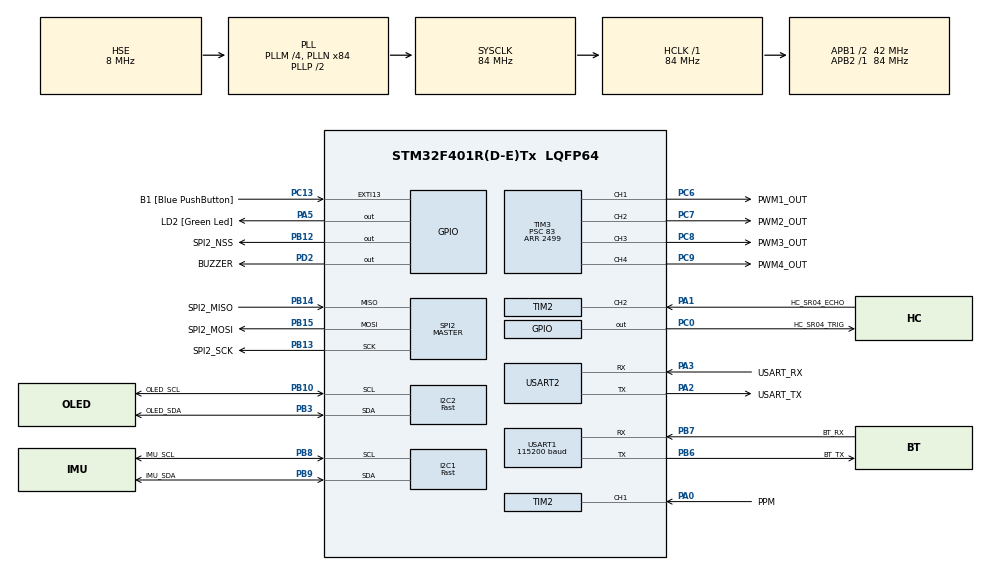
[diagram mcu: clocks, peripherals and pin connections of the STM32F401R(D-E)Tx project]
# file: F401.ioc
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Dma.Request0=USART1_RX
Dma.Request1=USART1_TX
Dma.USART1_RX.0.Direction=DMA_PERIPH_TO_MEMORY
Dma.USART1_RX.0.FIFOMode=DMA_FIFOMODE_DISABLE
Dma.USART1_RX.0.Instance=DMA2_Stream2
Dma.USART1_RX.0.MemDataAlignment=DMA_MDATAALIGN_BYTE
Dma.USART1_RX.0.MemInc=DMA_MINC_ENABLE
Dma.USART1_RX.0.Mode=DMA_CIRCULAR
Dma.USART1_RX.0.PeriphDataAlignment=DMA_PDATAALIGN_BYTE
Dma.USART1_RX.0.PeriphInc=DMA_PINC_DISABLE
Dma.USART1_RX.0.Priority=DMA_PRIORITY_HIGH
Dma.USART1_TX.1.Direction=DMA_MEMORY_TO_PERIPH
Dma.USART1_TX.1.FIFOMode=DMA_FIFOMODE_DISABLE
Dma.USART1_TX.1.Instance=DMA2_Stream7
Dma.USART1_TX.1.MemDataAlignment=DMA_MDATAALIGN_BYTE
Dma.USART1_TX.1.MemInc=DMA_MINC_ENABLE
Dma.USART1_TX.1.Mode=DMA_NORMAL
Dma.USART1_TX.1.PeriphDataAlignment=DMA_PDATAALIGN_BYTE
Dma.USART1_TX.1.PeriphInc=DMA_PINC_DISABLE
Dma.USART1_TX.1.Priority=DMA_PRIORITY_MEDIUM
FREERTOS.INCLUDE_xTimerPendFunctionCall=1
FREERTOS.Tasks01=ControlTask,48,512,Control_Task,Default,NULL,Dynamic,NULL,NULL;AttitudeTask,40,768,Attitude_Task,Default,NULL,Dynamic,NULL,NULL;RcTask,34,320,Rc_Task,Default,NULL,Dynamic,NULL,NULL;CommTask,24,320,Comm_Task,Default,NULL,Dynamic,NULL,NULL;StatusTask,8,192,Status_Task,Default,NULL,Dynamic,NULL,NULL;DisplayTask,16,256,Display_Task,Default,NULL,Dynamic,NULL,NULL;SafetyTask,36,384,Safety_Task,Default,NULL,Dynamic,NULL,NULL;BusTask,28,512,Bus_Task,Default,NULL,Dynamic,NULL,NULL
FREERTOS.configCHECK_FOR_STACK_OVERFLOW=2
FREERTOS.configENABLE_FPU=1
FREERTOS.configTOTAL_HEAP_SIZE=32768
FREERTOS.configUSE_MALLOC_FAILED_HOOK=1
I2C1.DutyCycle=I2C_DUTYCYCLE_16_9
I2C1.I2C_Mode=I2C_Fast
I2C1.I2C_Speed_Mode=I2C_Fast
I2C2.I2C_Speed_Mode=I2C_Fast
IWDG.Prescaler=IWDG_PRESCALER_32
IWDG.Reload=1000
Mcu.Family=STM32F4
Mcu.Name=STM32F401R(D-E)Tx
Mcu.Package=LQFP64
NVIC.DMA2_Stream2_IRQn=true\:6\:0\:true\:false\:true\:true\:false\:true\:true
NVIC.DMA2_Stream7_IRQn=true\:7\:0\:true\:false\:true\:true\:false\:true\:true
NVIC.I2C1_ER_IRQn=true\:5\:0\:true\:false\:true\:true\:true\:true\:true
NVIC.I2C1_EV_IRQn=true\:5\:0\:true\:false\:true\:true\:true\:true\:true
NVIC.PriorityGroup=NVIC_PRIORITYGROUP_4
NVIC.TIM2_IRQn=true\:5\:0\:true\:false\:true\:true\:true\:true\:true
NVIC.TIM4_IRQn=true\:15\:0\:false\:false\:true\:false\:false\:true\:true
NVIC.TimeBase=TIM4_IRQn
NVIC.TimeBaseIP=TIM4
NVIC.USART1_IRQn=true\:6\:0\:true\:false\:true\:true\:true\:true\:true
PA0-WKUP.GPIO_Label=PPM
PA0-WKUP.Signal=S_TIM2_CH1_ETR
PA1.GPIO_Label=HC_SR04_ECHO
PA1.Signal=S_TIM2_CH2
PA13.Mode=Serial_Wire
PA13.Signal=SYS_JTMS-SWDIO
PA14.Mode=Serial_Wire
PA14.Signal=SYS_JTCK-SWCLK
PA2.GPIO_Label=USART_TX
PA2.GPIO_Mode=GPIO_MODE_AF_PP
PA2.GPIO_PuPd=GPIO_NOPULL
PA2.GPIO_Speed=GPIO_SPEED_FREQ_LOW
PA2.Mode=Asynchronous
PA2.Signal=USART2_TX
PA3.GPIO_Label=USART_RX
PA3.GPIO_Mode=GPIO_MODE_AF_PP
PA3.GPIO_PuPd=GPIO_NOPULL
PA3.GPIO_Speed=GPIO_SPEED_FREQ_LOW
PA3.Mode=Asynchronous
PA3.Signal=USART2_RX
PA5.GPIO_Label=LD2 [Green Led]
PA5.GPIO_Mode=GPIO_MODE_OUTPUT_PP
PA5.GPIO_PuPd=GPIO_NOPULL
PA5.GPIO_Speed=GPIO_SPEED_FREQ_LOW
PA5.Signal=GPIO_Output
PB10.GPIO_Label=OLED_SCL
PB10.GPIO_Pu=GPIO_NOPULL
PB10.Mode=I2C
PB10.Signal=I2C2_SCL
PB12.GPIO_Label=SPI2_NSS
PB12.GPIO_Speed=GPIO_SPEED_FREQ_VERY_HIGH
PB12.PinState=GPIO_PIN_SET
PB12.Signal=GPIO_Output
PB13.GPIO_Label=SPI2_SCK
PB13.Mode=Full_Duplex_Master
PB13.Signal=SPI2_SCK
PB14.GPIO_Label=SPI2_MISO
PB14.Mode=Full_Duplex_Master
PB14.Signal=SPI2_MISO
PB15.GPIO_Label=SPI2_MOSI
PB15.Mode=Full_Duplex_Master
PB15.Signal=SPI2_MOSI
PB3.GPIO_Label=OLED_SDA
PB3.GPIO_Pu=GPIO_NOPULL
PB3.Mode=I2C
PB3.Signal=I2C2_SDA
PB6.GPIO_Label=BT_TX
PB6.GPIO_Pu=GPIO_NOPULL
PB6.Mode=Asynchronous
PB6.Signal=USART1_TX
PB7.GPIO_Label=BT_RX
PB7.GPIO_Pu=GPIO_NOPULL
PB7.Mode=Asynchronous
PB7.Signal=USART1_RX
PB8.GPIO_Label=IMU_SCL
PB8.GPIO_Pu=GPIO_NOPULL
PB8.Mode=I2C
PB8.Signal=I2C1_SCL
PB9.GPIO_Label=IMU_SDA
PB9.GPIO_Pu=GPIO_NOPULL
PB9.Mode=I2C
PB9.Signal=I2C1_SDA
PC0.GPIO_Label=HC_SR04_TRIG
PC0.GPIO_PuPd=GPIO_NOPULL
PC0.GPIO_Speed=GPIO_SPEED_FREQ_MEDIUM
PC0.PinState=GPIO_PIN_RESET
PC0.Signal=GPIO_Output
PC13-ANTI_TAMP.GPIO_Label=B1 [Blue PushButton]
PC13-ANTI_TAMP.GPIO_ModeDefaultEXTI=GPIO_MODE_IT_FALLING
PC13-ANTI_TAMP.GPIO_PuPd=GPIO_NOPULL
PC13-ANTI_TAMP.Signal=GPXTI13
PC14-OSC32_IN.Signal=RCC_OSC32_IN
PC15-OSC32_OUT.Signal=RCC_OSC32_OUT
PC6.GPIO_Label=PWM1_OUT
PC6.GPIO_Speed=GPIO_SPEED_FREQ_HIGH
PC6.Signal=S_TIM3_CH1
PC7.GPIO_Label=PWM2_OUT
PC7.GPIO_Speed=GPIO_SPEED_FREQ_HIGH
PC7.Signal=S_TIM3_CH2
PC8.GPIO_Label=PWM3_OUT
PC8.GPIO_Speed=GPIO_SPEED_FREQ_HIGH
PC8.Signal=S_TIM3_CH3
PC9.GPIO_Label=PWM4_OUT
PC9.GPIO_Speed=GPIO_SPEED_FREQ_HIGH
PC9.Signal=S_TIM3_CH4
PD2.GPIO_Label=BUZZER
PD2.GPIO_PuPd=GPIO_NOPULL
PD2.GPIO_Speed=GPIO_SPEED_FREQ_MEDIUM
PD2.PinState=GPIO_PIN_RESET
PD2.Signal=GPIO_Output
PH0\ -\ OSC_IN.Mode=HSE-External-Oscillator
PH0\ -\ OSC_IN.Signal=RCC_OSC_IN
PH1\ -\ OSC_OUT.Mode=HSE-External-Oscillator
PH1\ -\ OSC_OUT.Signal=RCC_OSC_OUT
ProjectManager.HeapSize=0x200
ProjectManager.StackSize=0x400
ProjectManager.TargetToolchain=MDK-ARM V5.32
RCC.48MHZClocksFreq_Value=24000000
RCC.AHBFreq_Value=84000000
RCC.APB1CLKDivider=RCC_HCLK_DIV2
RCC.APB1Freq_Value=42000000
RCC.APB1TimFreq_Value=84000000
RCC.APB2Freq_Value=84000000
RCC.APB2TimFreq_Value=84000000
RCC.CortexFreq_Value=84000000
RCC.EnbaleCSS=true
RCC.HCLKFreq_Value=84000000
RCC.HSE_VALUE=8000000
RCC.HSI_VALUE=16000000
RCC.LSE_VALUE=32768
RCC.PLLM=4
RCC.PLLN=84
RCC.PLLQ=7
RCC.PLLSourceVirtual=RCC_PLLSOURCE_HSE
RCC.SYSCLKFreq_VALUE=84000000
RCC.SYSCLKSource=RCC_SYSCLKSOURCE_PLLCLK
RCC.VCOOutputFreq_Value=168000000
SH.S_TIM2_CH1_ETR.0=TIM2_CH1,Input_Capture1_from_TI1
SH.S_TIM2_CH2.0=TIM2_CH2,Input_Capture2_from_TI2
SH.S_TIM3_CH1.0=TIM3_CH1,PWM Generation1 CH1
SH.S_TIM3_CH2.0=TIM3_CH2,PWM Generation2 CH2
SH.S_TIM3_CH3.0=TIM3_CH3,PWM Generation3 CH3
SH.S_TIM3_CH4.0=TIM3_CH4,PWM Generation4 CH4
SPI2.Direction=SPI_DIRECTION_2LINES
SPI2.Mode=SPI_MODE_MASTER
SPI2.VirtualType=VM_MASTER
TIM2.AutoReloadPreload=TIM_AUTORELOAD_PRELOAD_ENABLE
TIM2.Channel-Input_Capture1_from_TI1=TIM_CHANNEL_1
TIM2.Channel-Input_Capture2_from_TI2=TIM_CHANNEL_2
TIM2.ICFilter_CH1=1
TIM2.ICFilter_CH2=1
TIM2.ICPolarity_CH1=TIM_INPUTCHANNELPOLARITY_RISING
TIM2.ICPolarity_CH2=TIM_INPUTCHANNELPOLARITY_BOTHEDGE
TIM2.Period=4294967295
TIM2.Prescaler=83
TIM3.Channel-PWM\ Generation1\ CH1=TIM_CHANNEL_1
TIM3.Channel-PWM\ Generation2\ CH2=TIM_CHANNEL_2
TIM3.Channel-PWM\ Generation3\ CH3=TIM_CHANNEL_3
TIM3.Channel-PWM\ Generation4\ CH4=TIM_CHANNEL_4
TIM3.Period=2499
TIM3.Prescaler=83
TIM3.Pulse-PWM\ Generation1\ CH1=1000
TIM3.Pulse-PWM\ Generation2\ CH2=1000
TIM3.Pulse-PWM\ Generation3\ CH3=1000
TIM3.Pulse-PWM\ Generation4\ CH4=1000
USART1.BaudRate=115200
USART1.VirtualMode=VM_ASYNC
USART2.VirtualMode=VM_ASYNC
VP_FREERTOS_VS_CMSIS_V2.Mode=CMSIS_V2
VP_IWDG_VS_IWDG.Mode=IWDG_Activate
VP_SYS_VS_tim4.Mode=TIM4
VP_TIM2_VS_ClockSourceINT.Mode=Internal
VP_TIM3_VS_ClockSourceINT.Mode=Internal
board=NUCLEO-F401RE

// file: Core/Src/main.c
/* USER CODE BEGIN Header */
/**
  ******************************************************************************
  * @file           : main.c
  * @brief          : Main program body
  ******************************************************************************
  * @attention
  *
  * Copyright (c) 2026 STMicroelectronics.
  * All rights reserved.
  *
  * This software is licensed under terms that can be found in the LICENSE file
  * in the root directory of this software component.
  * If no LICENSE file comes with this software, it is provided AS-IS.
  *
  ******************************************************************************
  */
/* USER CODE END Header */
#include "main.h"
#include "cmsis_os.h"
#include "dma.h"
#include "i2c.h"
#include "iwdg.h"
#include "spi.h"
#include "tim.h"
#include "usart.h"
#include "gpio.h"

/* USER CODE BEGIN Includes */

#include "atomic_publish.h"
#include "calib.h"
#include "anonym.h"
#include "safety.h"
#include "fc_time.h"
#include "motor.h"
#include "rc.h"
#include "altitude.h"

/* USER CODE END Includes */

void SystemClock_Config(void);
void MX_FREERTOS_Init(void);

int main(void)
{

  /* MCU Configuration--------------------------------------------------------*/

  /* Reset of all peripherals, Initializes the Flash interface and the Systick. */
  HAL_Init();

  /* Configure the system clock */
  SystemClock_Config();

  /* Initialize all configured peripherals */
  MX_GPIO_Init();
  MX_DMA_Init();
  MX_USART2_UART_Init();
  MX_I2C1_Init();
  MX_I2C2_Init();
  MX_SPI2_Init();
  MX_TIM2_Init();
  MX_TIM3_Init();
  MX_USART1_UART_Init();
  MX_IWDG_Init();
  /* USER CODE BEGIN 2 */

	Fc_TimeInit();        /* 使能 DWT：Fc_GetMicros 的时间基准，必须最先调用 */
	Fc_Interlock_Init();
	Calib_Init();         /* 先于 Anonym_Init：后者用 Calib_GetSavedPid 恢复 PID */
	Anonym_Init();
	Safety_Init();
	Motor_Init();
	Rc_Init();
	Altitude_Init();
	Uart1_Rx_Start();

  /* USER CODE END 2 */

  /* Init scheduler */
  osKernelInitialize();  /* Call init function for freertos objects (in cmsis_os2.c) */
  MX_FREERTOS_Init();

  /* Start scheduler */
  osKernelStart();

  /* We should never get here as control is now taken by the scheduler */

  /* Infinite loop */
  while (1)
  {

  }
}

void SystemClock_Config(void)
{
  RCC_OscInitTypeDef RCC_OscInitStruct = {0};
  RCC_ClkInitTypeDef RCC_ClkInitStruct = {0};

  /** Configure the main internal regulator output voltage
  */
  __HAL_RCC_PWR_CLK_ENABLE();
  __HAL_PWR_VOLTAGESCALING_CONFIG(PWR_REGULATOR_VOLTAGE_SCALE2);

  /** Initializes the RCC Oscillators according to the specified parameters
  * in the RCC_OscInitTypeDef structure.
  */
  RCC_OscInitStruct.OscillatorType = RCC_OSCILLATORTYPE_LSI|RCC_OSCILLATORTYPE_HSE;
  RCC_OscInitStruct.HSEState = RCC_HSE_ON;
  RCC_OscInitStruct.LSIState = RCC_LSI_ON;
  RCC_OscInitStruct.PLL.PLLState = RCC_PLL_ON;
  RCC_OscInitStruct.PLL.PLLSource = RCC_PLLSOURCE_HSE;
  RCC_OscInitStruct.PLL.PLLM = 4;
  RCC_OscInitStruct.PLL.PLLN = 84;
  RCC_OscInitStruct.PLL.PLLP = RCC_PLLP_DIV2;
  RCC_OscInitStruct.PLL.PLLQ = 7;
  if (HAL_RCC_OscConfig(&RCC_OscInitStruct) != HAL_OK)
  {
    Error_Handler();
  }

  /** Initializes the CPU, AHB and APB buses clocks
  */
  RCC_ClkInitStruct.ClockType = RCC_CLOCKTYPE_HCLK|RCC_CLOCKTYPE_SYSCLK
                              |RCC_CLOCKTYPE_PCLK1|RCC_CLOCKTYPE_PCLK2;
  RCC_ClkInitStruct.SYSCLKSource = RCC_SYSCLKSOURCE_PLLCLK;
  RCC_ClkInitStruct.AHBCLKDivider = RCC_SYSCLK_DIV1;
  RCC_ClkInitStruct.APB1CLKDivider = RCC_HCLK_DIV2;
  RCC_ClkInitStruct.APB2CLKDivider = RCC_HCLK_DIV1;

  if (HAL_RCC_ClockConfig(&RCC_ClkInitStruct, FLASH_LATENCY_2) != HAL_OK)
  {
    Error_Handler();
  }

  /** Enables the Clock Security System
  */
  HAL_RCC_EnableCSS();
}

/* USER CODE BEGIN 4 */

void HAL_RCC_CSSCallback(void)
{
  Motor_DisarmAll();
  HAL_NVIC_SystemReset();
}

/* USER CODE END 4 */

void HAL_TIM_PeriodElapsedCallback(TIM_HandleTypeDef *htim)
{
  if (htim->Instance == TIM4)
  {
    HAL_IncTick();
  }
}

void Error_Handler(void)
{
  __disable_irq();
  while (1)
  {
  }
}

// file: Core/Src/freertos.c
/* USER CODE BEGIN Header */
/**
  ******************************************************************************
  * File Name          : freertos.c
  * Description        : Code for freertos applications
  ******************************************************************************
  * @attention
  *
  * Copyright (c) 2026 STMicroelectronics.
  * All rights reserved.
  *
  * This software is licensed under terms that can be found in the LICENSE file
  * in the root directory of this software component.
  * If no LICENSE file comes with this software, it is provided AS-IS.
  *
  ******************************************************************************
  */
/* USER CODE END Header */

#include "FreeRTOS.h"
#include "task.h"
#include "main.h"
#include "cmsis_os.h"

/* USER CODE BEGIN Includes */

#include "gy87.h"
#include "Madgwick.h"
#include "i2c_adapter.h"
#include "fc_time.h"
#include "atomic_publish.h"
#include "calib.h"
#include "safety.h"
#include "usart.h"
#include "anonym.h"
#include "motor.h"
#include "pid.h"
#include "rc.h"
#include "altitude.h"
#include <stdio.h>
#include <string.h>

/* USER CODE END Includes */

/* USER CODE BEGIN PTD */

/* StatusTask 采集到的诊断量 */
static volatile uint32_t s_heap_free    = 0u;   /* 剩余堆空间（字节） */
static volatile uint32_t s_wm_ctrl      = 0u;   /* 控制任务栈水位 */
static volatile uint32_t s_wm_att       = 0u;   /* 姿态任务栈水位 */
static volatile uint32_t s_wm_safety    = 0u;   /* 安全任务栈水位 */

/* USER CODE END PTD */

/* USER CODE BEGIN PD */

/* ==========================================================================
 * 周期
 * ========================================================================== */
#define ATT_WAIT_TIMEOUT_MS  10u  /* 姿态数据等待超时 */
#define SAFETY_PERIOD_MS     10u  /* 安全监控周期 */
#define BUS_PERIOD_MS        1u   /* 总线收发周期 */
#define DISPLAY_PERIOD_MS    500u /* 显示刷新周期 */
#define STATUS_PERIOD_MS     200u /* 状态上报周期 */
#define RC_PERIOD_MS         5u   /* 遥控解析周期 */

/* RC 失联自动缓降斜率：ControlTask 2 ms/拍，每拍递减 1 µs ≈ 500 µs/s。
 * 太快坠落偏快，太慢空中滞留过久；按实机整定。 */
#define FAILSAFE_SLEW_US     1u

/* CMSIS-RTOS2 的 osDelayUntil 在目标节拍已过时立即返回（不延时），
 * 因此“wake += period”一旦落后就永远追不上，会退化成忙循环。
 * 本函数在落后时重新对齐到“当前 + 周期”，保证每拍真正睡眠。 */
static inline void PeriodWait(uint32_t *wake, uint32_t period)
{
	if ((int32_t)(osKernelGetTickCount() - *wake) > 0) {
		*wake = osKernelGetTickCount() + period;
	}
	(void)osDelayUntil(*wake);
	*wake += period;
}

/* 任务间通知标志 */
#define ATT_FLAG_NEW_SAMPLE   (1u << 0)

/* ==========================================================================
 * 姿态角目标限幅
 * ========================================================================== */
/* 绝对硬限：滚转/俯仰目标一律不超过 ±40°，所有控制来源统一生效。
 * 物理依据：倾角 θ 时维持高度需要 1/cosθ 倍悬停推力；45° 需约 1.41 倍，
 * 本机油门余量不足，45° 已无法拉回（安全层 45° 判 FATAL）。
 * 因此目标硬限压到 40°（约 1.31 倍），给致命阈值留 5° 余量。 */
#define ATT_TILT_HARD_DEG    40.0f
/* 摇杆满舵映射：±30°。常规航拍/调参够用，并给硬限留 10° 余量，
 * 避免杆量打满时直接贴着极限飞行。 */
#define ATT_TILT_STICK_DEG   30.0f

/* ==========================================================================
 * CH5 三档传感器上限（aux_us[0]）：与定高辅助无关，始终参与编译
 * ========================================================================== */
/* 滞回：±200µs 进入 / ±100µs 退出（µs 域） */
#define CH5_HI_TH        1700u
#define CH5_HI_REL_TH    1600u
#define CH5_LO_TH        1300u
#define CH5_LO_REL_TH    1400u

/* ==========================================================================
 * CH7 两档开关（aux_us[2]）：电机锁 / 一键起飞触发 —— 始终参与编译
 * --------------------------------------------------------------------------
 * 两种模式下都是"拨高才允许电机转"的硬开关：
 *  - FEATURE_ALT_ASSIST 开：拨高 = 解锁并一键起飞；拨低 = 缓降/撤销解锁
 *  - FEATURE_ALT_ASSIST 关：拨高 = 仅解锁（手动油门飞行）；拨低 = 立即上锁
 * 上电/链路恢复时必须实际经历"低→高"边沿才有效：开关若一直停在 H，
 * 只锁存为基准电平而不触发解锁（见 ControlTask 2c 消抖逻辑）。
 * 阈值用滞回 + 范围判定，不依赖精确的 1000/2000µs。
 * ========================================================================== */
#define CH7_HI_TH        1650u
#define CH7_LO_TH        1350u
#define CH7_DEBOUNCE     50u

/* 油门斜变 ±16µs/拍，全行程约 125ms（两种模式共用） */
#define BASE_SLEW_US     16u

/* ==========================================================================
 * 定高辅助 / 一键起飞（CH6 目标高度 + 自动起降状态机）—— 编译期可选
 * --------------------------------------------------------------------------
 * 由 FEATURE_ALT_ASSIST（control_types.h）决定是否参与编译。
 * 未定义时：本节 CH6 与高度环/状态机全部不编译，CH3 油门按标准全行程直通。
 * ========================================================================== */
#ifdef FEATURE_ALT_ASSIST
/* CH6 一键起飞高度：aux_us[1] 线性映射 1.8~3.5 m，CH7 边沿瞬间锁存 */
#define TKOF_ALT_MIN_M   1.8f
#define TKOF_ALT_MAX_M   3.5f
#define TKOF_ALT_MID_M   2.65f
#define TKOF_ALT_HALF_M  0.85f

/* 高度环：base_01 ∈ hover_ff ± ALT_OUT_DELTA
 * P/I/D 增益走 PID 参数 ID 2018~2020，上位机 PID 页在线调整，默认值见 Anonym_Init */
#define ALT_I_LIM        0.15f
#define ALT_OUT_DELTA    0.30f
#define HOVER_FF_INIT    0.45f      /* 无桨台架保守常数，FLARE 落地瞬间学习 */
#define HOVER_FF_MIN     0.20f
#define HOVER_FF_MAX     0.80f

/* 垂直速率指令与目标高度包络 */
#define VZ_DEADBAND      0.08f      /* 油门杆归一化死区（±80µs），回中=定高 */
#define VZ_STICK_MAX     1.0f       /* 满杆最大爬升/下降速率 m/s */
#define VZ_TAKEOFF       0.6f
#define VZ_LAND          0.4f
#define VZ_LAND_SLOW     0.2f       /* 0.5m 以下末段下降率 */
#define ALT_TGT_FLOOR_M  0.2f       /* 地面守卫：HOLD 目标 ≤ 此值 = 怠速 */
#define ALT_TGT_CEIL_M   3.8f       /* 低于超声 4.0m 量程 */

/* 状态迁移判据 */
#define TKOF_DONE_ERR_M  0.15f
#define TKOF_DONE_VZ     0.25f
#define TKOF_DONE_MS     1000u
#define TKOF_TIMEOUT_MS  15000u     /* 起飞超时：推力不足无法到位 → 转缓降 */
#define LAND_TOUCH_ALT_M 0.25f
#define LAND_TOUCH_MS    600u
#define LAND_FADE_MS     400u       /* 落地油门淡出 */
#define LAND_TIMEOUT_MS  30000u     /* 缓降超时强制淡出 */
#define ARM_WAIT_MS      1000u      /* CH7 边沿后等 Safety 确认解锁 */

typedef enum {
    ASSIST_MANUAL = 0,   /* 油门杆直通（回中摇杆：仅上杆映射） */
    ASSIST_ARM_WAIT,     /* 已发 RC 解锁请求，等 Safety 确认 */
    ASSIST_TAKEOFF,      /* 爬升到锁存高度 */
    ASSIST_HOLD,         /* 定高，杆 = 高度速率指令 */
    ASSIST_LAND,         /* 缓降 */
    ASSIST_FLARE,        /* 落地油门淡出 + 自动上锁 */
} AssistState;
#endif

/* USER CODE END PD */

/* Definitions for ControlTask */
osThreadId_t ControlTaskHandle;
const osThreadAttr_t ControlTask_attributes = {
  .name = "ControlTask",
  .stack_size = 512 * 4,
  .priority = (osPriority_t) osPriorityRealtime,
};
/* Definitions for AttitudeTask */
osThreadId_t AttitudeTaskHandle;
const osThreadAttr_t AttitudeTask_attributes = {
  .name = "AttitudeTask",
  .stack_size = 768 * 4,
  .priority = (osPriority_t) osPriorityHigh,
};
/* Definitions for RcTask */
osThreadId_t RcTaskHandle;
const osThreadAttr_t RcTask_attributes = {
  .name = "RcTask",
  .stack_size = 320 * 4,
  .priority = (osPriority_t) osPriorityAboveNormal2,
};
/* Definitions for CommTask */
osThreadId_t CommTaskHandle;
const osThreadAttr_t CommTask_attributes = {
  .name = "CommTask",
  .stack_size = 320 * 4,
  .priority = (osPriority_t) osPriorityNormal,
};
/* Definitions for StatusTask */
osThreadId_t StatusTaskHandle;
const osThreadAttr_t StatusTask_attributes = {
  .name = "StatusTask",
  .stack_size = 192 * 4,
  .priority = (osPriority_t) osPriorityLow,
};
/* Definitions for DisplayTask */
osThreadId_t DisplayTaskHandle;
const osThreadAttr_t DisplayTask_attributes = {
  .name = "DisplayTask",
  .stack_size = 256 * 4,
  .priority = (osPriority_t) osPriorityBelowNormal,
};
/* Definitions for SafetyTask */
osThreadId_t SafetyTaskHandle;
const osThreadAttr_t SafetyTask_attributes = {
  .name = "SafetyTask",
  .stack_size = 384 * 4,
  .priority = (osPriority_t) osPriorityAboveNormal4,
};
/* Definitions for BusTask */
osThreadId_t BusTaskHandle;
const osThreadAttr_t BusTask_attributes = {
  .name = "BusTask",
  .stack_size = 512 * 4,
  .priority = (osPriority_t) osPriorityNormal4,
};

void Control_Task(void *argument);
void Attitude_Task(void *argument);
void Rc_Task(void *argument);
void Comm_Task(void *argument);
void Status_Task(void *argument);
void Display_Task(void *argument);
void Safety_Task(void *argument);
void Bus_Task(void *argument);

void MX_FREERTOS_Init(void); /* (MISRA C 2004 rule 8.1) */

/* Hook prototypes */
void vApplicationStackOverflowHook(xTaskHandle xTask, signed char *pcTaskName);
void vApplicationMallocFailedHook(void);

/* USER CODE BEGIN 4 */
void vApplicationStackOverflowHook(xTaskHandle xTask, signed char *pcTaskName)
{
   /* Run time stack overflow checking is performed if
   configCHECK_FOR_STACK_OVERFLOW is defined to 1 or 2. This hook function is
   called if a stack overflow is detected. */
   (void)xTask;
   (void)pcTaskName;
   __disable_irq();
   for (;;) { }
}
/* USER CODE END 4 */

/* USER CODE BEGIN 5 */
void vApplicationMallocFailedHook(void)
{
   /* vApplicationMallocFailedHook() will only be called if
   configUSE_MALLOC_FAILED_HOOK is set to 1 in FreeRTOSConfig.h. It is a hook
   function that will get called if a call to pvPortMalloc() fails.
   pvPortMalloc() is called internally by the kernel whenever a task, queue,
   timer or semaphore is created. It is also called by various parts of the
   demo application. If heap_1.c or heap_2.c are used, then the size of the
   heap available to pvPortMalloc() is defined by configTOTAL_HEAP_SIZE in
   FreeRTOSConfig.h, and the xPortGetFreeHeapSize() API function can be used
   to query the size of free heap space that remains (although it does not
   provide information on how the remaining heap might be fragmented). */
   __disable_irq();
   for (;;) { }
}
/* USER CODE END 5 */

void MX_FREERTOS_Init(void) {

  /* USER CODE BEGIN RTOS_QUEUES */
  /* add queues, ... */
	Anonym_TxInit();   /* 创建 TX 块池与两个队列，必须在 osKernelInitialize 之后 */
  /* USER CODE END RTOS_QUEUES */

  /* Create the thread(s) */
  /* creation of ControlTask */
  ControlTaskHandle = osThreadNew(Control_Task, NULL, &ControlTask_attributes);

  /* creation of AttitudeTask */
  AttitudeTaskHandle = osThreadNew(Attitude_Task, NULL, &AttitudeTask_attributes);

  /* creation of RcTask */
  RcTaskHandle = osThreadNew(Rc_Task, NULL, &RcTask_attributes);

  /* creation of CommTask */
  CommTaskHandle = osThreadNew(Comm_Task, NULL, &CommTask_attributes);

  /* creation of StatusTask */
  StatusTaskHandle = osThreadNew(Status_Task, NULL, &StatusTask_attributes);

  /* creation of DisplayTask */
  DisplayTaskHandle = osThreadNew(Display_Task, NULL, &DisplayTask_attributes);

  /* creation of SafetyTask */
  SafetyTaskHandle = osThreadNew(Safety_Task, NULL, &SafetyTask_attributes);

  /* creation of BusTask */
  BusTaskHandle = osThreadNew(Bus_Task, NULL, &BusTask_attributes);

}

void Control_Task(void *argument)
{
  /* USER CODE BEGIN Control_Task */

	(void)argument;

	/* ---- PID 实例 ---- */
	Pid pid_roll_rate, pid_pitch_rate, pid_yaw_rate;
	Pid pid_roll_att,  pid_pitch_att,  pid_yaw_att;

	/* 参数 ID 映射（与 AutoPID 上位机一致：2000 起，6 组 × P/I/D）：
	 * 2000-2002: Roll Att  P I D   2003-2005: Pitch Att  P I D
	 * 2006-2008: Yaw Att   P I D   2009-2011: Roll Rate  P I D
	 * 2012-2014: Pitch Rate P I D   2015-2017: Yaw Rate  P I D
	 *
	 * 单位约定：外环输入/误差全程用 deg，PID 输出 deg/s，送内环前显式
	 * ×0.0174533 转 rad/s；内环输入 rad/s，输出 ±1。
	 * 注意：由旧"输出即 rad/s"约定切换后，上位机 2000~2008 号外环增益需 ×57.3 重标。
	 *
	 * 限幅（先给保守值，台架按需放宽）：
	 *   内环输出 ±1；外环 roll/pitch ±344°/s（=6 rad/s）、yaw ±86°/s（=1.5 rad/s） */
	Pid_Init(&pid_roll_rate,  Anon_GetPidGain(2009u), Anon_GetPidGain(2010u), Anon_GetPidGain(2011u),
					 0.3f, 1.0f, 0.3f);
	Pid_Init(&pid_pitch_rate, Anon_GetPidGain(2012u), Anon_GetPidGain(2013u), Anon_GetPidGain(2014u),
					 0.3f, 1.0f, 0.3f);
	Pid_Init(&pid_yaw_rate,   Anon_GetPidGain(2015u), Anon_GetPidGain(2016u), Anon_GetPidGain(2017u),
					 0.2f, 1.0f, 0.5f);
	Pid_Init(&pid_roll_att,   Anon_GetPidGain(2000u), Anon_GetPidGain(2001u), Anon_GetPidGain(2002u),
					 28.6f, 344.0f, 1.0f);   /* i_lim/out_lim 单位 deg/s */
	Pid_Init(&pid_pitch_att,  Anon_GetPidGain(2003u), Anon_GetPidGain(2004u), Anon_GetPidGain(2005u),
					 28.6f, 344.0f, 1.0f);
	/* yaw 角度环：磁力计抖动风险高，输出限幅保守、D 低通压尖峰 */
	Pid_Init(&pid_yaw_att,    Anon_GetPidGain(2006u), Anon_GetPidGain(2007u), Anon_GetPidGain(2008u),
					 20.0f, 86.0f, 0.2f);

	uint32_t last_us = 0u;
	uint32_t tick = 0u;
	uint32_t wake = osKernelGetTickCount() + 1u;

	/* 内环 500Hz；外环由新姿态事件驱动（实际频率 = 姿态更新率 200Hz），
	 * 用上一帧姿态的 seq/usec 判新帧与差分 dt */
	float tgt_gx = 0.0f, tgt_gy = 0.0f, tgt_gz = 0.0f;
	fc_seq_t  	last_att_seq  = 0u;   /* 上次外环消费的姿态快照序列号 */
	fc_usec_t  	last_att_usec = 0u;   /* 上次外环消费的姿态快照时刻，用于 dt 差分 */
	uint32_t  	att_loss_cnt  = 0u;   /* 姿态连续丢失拍数（2ms/拍），超过才清零外环 */
	bool      	yaw_hold_active = false;  /* yaw 角度保持模式（磁力计可信时置位） */
	float     	yaw_hold_deg    = 0.0f;   /* 保持的目标航向，单位 deg */

	uint8_t   ch5_pos     = 2u;      /* 传感器上限档位：0=GYRO 1=IMU 2=MARG（CH5，始终参与） */
	uint16_t  prev_thr_us    = MOTOR_US_MIN;    /* 上一拍油门输出（斜变状态） */
	/* CH7 两档开关消抖状态（两种模式共用） */
	bool      ch7_lvl      = false;  /* 消抖后的稳定电平 */
	bool      ch7_synced   = false;  /* 首帧/链路恢复后已同步基准电平（不认作边沿） */
	bool      ch7_low_seen = false;  /* 已观测到低位：只有低→高才算有效解锁沿 */
	uint8_t   ch7_cnt      = 0u;     /* 候选电平持续拍数 */
#ifdef FEATURE_ALT_ASSIST
	/* ---- 定高辅助 / 一键起飞状态（CH6） ---- */
	AssistState assist_state = ASSIST_MANUAL;
	bool      ch7_session = false;   /* CH7=H 辅助会话 */
	float     tko_alt_m   = 0.0f;    /* 锁存的一键起飞目标高度 m */
	float     h_tgt_m     = 0.0f;    /* 高度环当前目标高度 m */
	float     vz_cmd      = 0.0f;    /* 垂直速率指令 m/s */
	float     hover_ff    = HOVER_FF_INIT;  /* 悬停前馈（FLARE 学习，仅 RAM） */
	float     alt_i       = 0.0f;    /* 高度环积分 */
	float     alt_kp      = Anon_GetPidGain(2018u);  /* 高度环 P（ID 2018） */
	float     alt_ki      = Anon_GetPidGain(2019u);  /* 高度环 I（ID 2019） */
	float     alt_kd      = Anon_GetPidGain(2020u);  /* 高度环 D（ID 2020） */
	float     base_01     = 0.0f;    /* 辅助层基础油门 [0,1] */
	fc_seq_t  last_alt_seq  = 0u;    /* 上次高度环消费的高度快照 */
	uint32_t  last_alt_usec = 0u;
	uint8_t   abort_reason   = ALT_ABORT_NONE;  /* 粘滞到下一次 CH7 边沿 */
	uint32_t  state_t0       = 0u;   /* 状态进入时刻（拍） */
	uint32_t  touch_cnt      = 0u;   /* 落地检测连续拍数 */
	uint32_t  assist_att_cnt = 0u;   /* 辅助态姿态丢失拍数 */
	char      lbuf[32];              /* LOG 格式化缓冲 */
#endif

  /* Infinite loop */

	for (;;) {
		PeriodWait(&wake, 2u);
		tick++;

		const uint32_t now = Fc_GetMicros();
		float dt = (last_us == 0u) ? 0.001f : (float)(now - last_us) * 1e-6f;
		last_us = now;
		if (dt > 0.03f) { dt = 0.03f; }   /* 抖大时夹紧，防积分爆冲 */

		/* ---- 1. 读输入 ---- */
		SensorData       sen;
		AttitudeSnapshot att;
		const bool sen_ok = FcChan_Read(&g_chan_sensor,   &sen) && sen.valid;
		const bool att_ok = FcChan_Read(&g_chan_attitude, &att) && att.valid;
#ifdef FEATURE_ALT_ASSIST
		AltitudeSnapshot alt;
		const bool alt_ok = FcChan_Read(&g_chan_altitude, &alt) && alt.valid;
#endif

		AnonDbgCtrl dbg;
		Anon_GetDbgCtrl(&dbg);
		const bool dbg_mode = (dbg.mode != 0);   /* 非 0 即接管 */

		RcCommandSnapshot rc_snap;
		RcNorm rcn;
		const bool rc_ok = FcChan_Read(&g_chan_rc, &rc_snap)
                && Rc_Normalize(&rc_snap, &rcn);

		/* ---- 2. 目标量决策（DBG 优先，其次 RC，最后 idle） ---- */
		float    tgt_roll_deg  = 0.0f;
		float    tgt_pitch_deg = 0.0f;
		float    tgt_yaw_rate  = 0.0f;   /* rad/s */
		uint16_t thr_us        = MOTOR_US_MIN;
		bool     control_on    = false;

		if (dbg_mode) {
			tgt_roll_deg  = (float)dbg.tgt_roll_centi_deg  / 100.0f;
			tgt_pitch_deg = (float)dbg.tgt_pitch_centi_deg / 100.0f;
			tgt_yaw_rate  = (float)dbg.tgt_yaw_rate_centi_dps / 100.0f * 0.0174533f;
			thr_us        = (uint16_t)dbg.throttle_us;
			control_on    = true;
		} else if (rc_ok) {
			/* 摇杆 → 目标姿态（满舵 ±ATT_TILT_STICK_DEG）、偏航速率（±90°/s） */
			tgt_roll_deg  = rcn.roll  * ATT_TILT_STICK_DEG;
			tgt_pitch_deg = -rcn.pitch * ATT_TILT_STICK_DEG;
			tgt_yaw_rate  = rcn.yaw * 90.0f * 0.0174533f;
#ifdef FEATURE_ALT_ASSIST
			/* 回中油门杆手动直通：仅用上半程（回中=怠速，满上=2000µs）；
			 * 定高辅助可用时本值被 2f 接管覆盖 */
			float t = rcn.thr - 0.5f;
			if (t < 0.0f) { t = 0.0f; }
			thr_us        = (uint16_t)(1000.0f + t * 2000.0f);
#else
			/* 标准油门直通：CH3 全行程 1000~2000µs → 1000~2000µs */
			thr_us        = (uint16_t)(1000.0f + rcn.thr * 1000.0f);
#endif
			control_on    = true;
		} else {
			/* RC 失联且非调试：
			 *  - Safety 仍允许输出（ARMED 未超时 或 FAILSAFE）→ 水平自稳 + 油门缓降着陆；
			 *  - Safety 已失锁 → 目标全零、油门最低。 */
			if (Safety_IsAllowed()) {
				tgt_roll_deg  = 0.0f;          /* 水平自稳 */
				tgt_pitch_deg = 0.0f;
				tgt_yaw_rate  = 0.0f;
				/* 缓降：每拍递减 FAILSAFE_SLEW_US，钳到最低油门，飞机缓慢下降 */
				thr_us = (prev_thr_us > (MOTOR_US_MIN + FAILSAFE_SLEW_US))
				       ? (uint16_t)(prev_thr_us - FAILSAFE_SLEW_US)
				       : MOTOR_US_MIN;
				control_on    = true;
			} else {
				thr_us        = MOTOR_US_MIN;
				control_on    = false;
			}
		}

		/* ---- 2a. 姿态角硬限幅（所有来源统一：DBG / RC / 未来的 0x41） ---- */
		tgt_roll_deg  = FC_SAT(tgt_roll_deg,  -ATT_TILT_HARD_DEG, ATT_TILT_HARD_DEG);
		tgt_pitch_deg = FC_SAT(tgt_pitch_deg, -ATT_TILT_HARD_DEG, ATT_TILT_HARD_DEG);

		/* ---- 2b. CH5 三档传感器上限（滞回消抖；RC 丢失保持最后档位） ---- */
		if (rc_ok) {
			uint8_t pos = ch5_pos;
			if (pos == 2u)      { if (rcn.aux_us[0] < CH5_HI_REL_TH) { pos = 1u; } }
			else if (pos == 0u) { if (rcn.aux_us[0] > CH5_LO_REL_TH) { pos = 1u; } }
			else {
				if (rcn.aux_us[0] > CH5_HI_TH)       { pos = 2u; }
				else if (rcn.aux_us[0] < CH5_LO_TH)  { pos = 0u; }
			}
			if (pos != ch5_pos) {
				static const char *const mode_name[3] = {"SENS:GYRO", "SENS:IMU6", "SENS:MARG9"};
				ch5_pos = pos;
				Attitude_SetSensorMode((SensorMode)pos);
				AnonLog(0u, mode_name[pos]);
			}
		}

		/* ---- 2c. CH7 两档开关消抖边沿检测（两种模式共用） ---- */
		/* 边沿标志仅本拍有效：防止解锁被拒后 CH7 仍停在 H 时跨拍重复触发 */
		bool ch7_rise = false;
		bool ch7_fall = false;
		if (!rc_ok) {
			ch7_synced   = false;   /* 链路丢失：恢复后以当前档位重新同步基准 */
			ch7_low_seen = false;   /* 恢复后必须重新经历低位才允许解锁 */
			ch7_cnt      = 0u;
		}
		bool cand = ch7_lvl;
		if (rc_ok) {
			if (!ch7_synced) {
				/* 上电/恢复首帧：直接锁存当前档位为基准电平，不产生边沿，
				 * 防止开机时 CH7 已停在 H 被合成成 L→H 边沿误触发解锁 */
				ch7_lvl      = (rcn.aux_us[2] > CH7_HI_TH);
				ch7_low_seen = (rcn.aux_us[2] < CH7_LO_TH);
				ch7_synced   = true;
				ch7_cnt      = 0u;
			} else {
				if (rcn.aux_us[2] > CH7_HI_TH)      { cand = true;  }
				else if (rcn.aux_us[2] < CH7_LO_TH) { cand = false; }
				/* 见过低位才记录：解锁沿必须来自"低→高"，上电即为高不算 */
				if (rcn.aux_us[2] < CH7_LO_TH)      { ch7_low_seen = true; }
			}
		}
		if (ch7_synced && cand != ch7_lvl) {
			if (++ch7_cnt >= CH7_DEBOUNCE) {
				ch7_lvl  = cand;
				ch7_cnt  = 0u;
				ch7_rise = cand && ch7_low_seen;   /* 无低位经历的高电平不产生解锁沿 */
				ch7_fall = !cand;
				if (ch7_rise) { ch7_low_seen = false; }  /* 一次低位只换一次解锁 */
			}
		} else {
			ch7_cnt = 0u;
		}

		bool assist_on = false;   /* 仅辅助模式会置 true；两种配置下都需声明 */
#ifdef FEATURE_ALT_ASSIST
		/* ---- 2d. 定高辅助状态机（DBG 接管时整体旁路） ---- */
		if (dbg_mode) {
			if (assist_state != ASSIST_MANUAL) {
				assist_state = ASSIST_MANUAL;
				ch7_session  = false;
				Safety_RequestArmRc(false);
				abort_reason = ALT_ABORT_BENCH;
			}
		} else {
			const bool armed = Safety_IsArmed();

			/* 会话仍在但 Safety 已复锁（上位机一票否决/链路丢失）：退出辅助 */
			if (ch7_session && !armed && (assist_state != ASSIST_ARM_WAIT)) {
				ch7_session  = false;
				assist_state = ASSIST_MANUAL;
				Safety_RequestArmRc(false);
				if (abort_reason == ALT_ABORT_NONE) { abort_reason = ALT_ABORT_HOST; }
			}

			if (ch7_rise && !ch7_session) {
				/* L→H：锁存 CH6 目标高度；未解锁则发 RC 解锁请求，条件由 Safety 裁决 */
				tko_alt_m = FC_SAT(TKOF_ALT_MID_M
				                   + ((float)rcn.aux_us[1] - 1500.0f) / 500.0f * TKOF_ALT_HALF_M,
				                   TKOF_ALT_MIN_M, TKOF_ALT_MAX_M);
				h_tgt_m      = alt_ok ? alt.height_m : 0.0f;
				base_01      = (float)(prev_thr_us - MOTOR_US_MIN) / 1000.0f;
				alt_i        = 0.0f;
				abort_reason = ALT_ABORT_NONE;
				ch7_session  = true;
				state_t0     = tick;
				assist_state = armed ? ASSIST_TAKEOFF : ASSIST_ARM_WAIT;
				if (!armed) { Safety_RequestArmRc(true); }
				const int cm = (int)(tko_alt_m * 100.0f + 0.5f);
				(void)snprintf(lbuf, sizeof(lbuf), "CH7 TKOF TGT %d.%02dm", cm / 100, cm % 100);
				AnonLog(2u, lbuf);
			} else if (ch7_fall && ch7_session) {
				if (assist_state == ASSIST_TAKEOFF || assist_state == ASSIST_HOLD) {
					assist_state = ASSIST_LAND;      /* 正常缓降流程，非故障中止 */
					state_t0     = tick;
					abort_reason = ALT_ABORT_CH7_LOW;
					AnonLog(0u, "CH7: LAND START");
				} else if (assist_state == ASSIST_ARM_WAIT) {
					Safety_RequestArmRc(false);
					ch7_session  = false;
					assist_state = ASSIST_MANUAL;
				}
			}

			switch (assist_state) {
			case ASSIST_ARM_WAIT:
				if (armed) {
					assist_state = ASSIST_TAKEOFF;
					state_t0     = tick;
				} else if ((tick - state_t0) * 2u >= ARM_WAIT_MS) {
					/* 解锁前置条件不满足，Safety 拒绝 */
					Safety_RequestArmRc(false);
					ch7_session  = false;
					assist_state = ASSIST_MANUAL;
					abort_reason = ALT_ABORT_PRECOND;
					AnonLog(1u, "CH7: ARM REJECTED");
				}
				break;

			case ASSIST_TAKEOFF:
			case ASSIST_HOLD:
			case ASSIST_LAND:
				assist_on = true;
				/* 姿态丢失 >50ms：退出辅助（Safety 也会很快复锁） */
				if (!att_ok) {
					if (++assist_att_cnt > 25u) {
						assist_att_cnt = 0u;
						ch7_session  = false;
						assist_state = ASSIST_MANUAL;
						Safety_RequestArmRc(false);
						abort_reason = ALT_ABORT_ATT_LOSS;
						assist_on    = false;
						AnonLog(1u, "ASSIST: ATT LOST");
						break;
					}
				} else {
					assist_att_cnt = 0u;
				}
				/* 高度数据丢失：退出辅助，退回降级手动油门（经斜变无跳变） */
				if (!alt_ok) {
					ch7_session  = false;
					assist_state = ASSIST_MANUAL;
					Safety_RequestArmRc(false);
					abort_reason = ALT_ABORT_ALT_LOSS;
					assist_on    = false;
					AnonLog(1u, "ASSIST: ALT LOST");
					break;
				}
				if (assist_state == ASSIST_TAKEOFF) {
					vz_cmd = VZ_TAKEOFF;
					if ((alt.height_m >= tko_alt_m - TKOF_DONE_ERR_M)
						&& (fabsf(alt.vz_mps) < TKOF_DONE_VZ)
						&& ((tick - state_t0) * 2u >= TKOF_DONE_MS)) {
						assist_state = ASSIST_HOLD;
						h_tgt_m      = alt.height_m;   /* 到位即就地定高 */
					} else if ((tick - state_t0) * 2u >= TKOF_TIMEOUT_MS) {
						/* 推力不足迟迟不到位：转缓降，不无限顶油门 */
						assist_state = ASSIST_LAND;
						state_t0     = tick;
						AnonLog(1u, "TKOF TIMEOUT -> LAND");
					}
				} else if (assist_state == ASSIST_HOLD) {
					/* 回中油门杆：回中=定高，推/拉=高度速率指令（±80µs 死区）；
					 * RC 丢失时 rcn 无效，必须置 0 保持当前高度 */
					if (!rc_ok) { vz_cmd = 0.0f; break; }
					float t = rcn.thr - 0.5f;
					if ((t > -VZ_DEADBAND) && (t < VZ_DEADBAND)) { t = 0.0f; }
					else { t -= (t > 0.0f) ? VZ_DEADBAND : -VZ_DEADBAND; }
					vz_cmd = FC_SAT(t / (0.5f - VZ_DEADBAND), -1.0f, 1.0f) * VZ_STICK_MAX;
				} else {   /* ASSIST_LAND：缓降，末段减速 */
					vz_cmd = (alt.height_m > 0.5f) ? -VZ_LAND : -VZ_LAND_SLOW;
					if (alt.height_m < LAND_TOUCH_ALT_M) {
						if (++touch_cnt >= (uint32_t)(LAND_TOUCH_MS / 2u)) {
							assist_state = ASSIST_FLARE;
							state_t0     = tick;
							/* 落地瞬间学习悬停点（仅 RAM，不自动落盘） */
							hover_ff = FC_SAT(base_01, HOVER_FF_MIN, HOVER_FF_MAX);
							alt_i    = 0.0f;
							AnonLog(2u, "TOUCHDOWN: FLARE");
						}
					} else {
						touch_cnt = 0u;
					}
					if ((tick - state_t0) * 2u >= LAND_TIMEOUT_MS) {
						assist_state = ASSIST_FLARE;
						state_t0     = tick;
						AnonLog(1u, "LAND TIMEOUT");
					}
				}
				break;

			case ASSIST_FLARE:
				assist_on = true;
				base_01 = FC_SAT(base_01 - (2.0f / (float)LAND_FADE_MS), 0.0f, 1.0f);
				if ((tick - state_t0) * 2u >= LAND_FADE_MS) {
					Safety_RequestArmRc(false);
					ch7_session  = false;
					assist_state = ASSIST_MANUAL;
					assist_on    = false;
					AnonLog(2u, "LANDED: AUTO DISARM");
				}
				break;

			default:   /* ASSIST_MANUAL：油门杆直通 */
				break;
			}
		}

		/* ---- 2e. 高度环（新高度帧驱动 50Hz，事件式同外环） ---- */
		if (assist_on && (assist_state != ASSIST_FLARE) && alt_ok
			&& alt.stamp.seq != last_alt_seq) {
			float dt_a = (last_alt_usec == 0u) ? 0.02f
			                     : (float)(alt.stamp.usec - last_alt_usec) * 1e-6f;
			if (dt_a <= 0.0f) { dt_a = 0.02f; }
			if (dt_a >  0.1f) { dt_a = 0.1f;  }
			last_alt_seq  = alt.stamp.seq;
			last_alt_usec = alt.stamp.usec;

			/* 目标高度斜坡：TAKEOFF 爬向锁存值，HOLD/LAND 按速率指令积分 */
			h_tgt_m += (assist_state == ASSIST_TAKEOFF) ? (VZ_TAKEOFF * dt_a)
			                                            : (vz_cmd * dt_a);
			float ceil_m = ALT_TGT_CEIL_M;
			if (assist_state == ASSIST_TAKEOFF && tko_alt_m < ceil_m) { ceil_m = tko_alt_m; }
			h_tgt_m = FC_SAT(h_tgt_m, ALT_TGT_FLOOR_M, ceil_m);

			const float err_h = h_tgt_m - alt.height_m;

			/* 条件积分（与 pid.c 同风格）：修正饱和且误差同向时冻结 */
			float i_new = alt_i + alt_ki * err_h * dt_a;
			i_new = FC_SAT(i_new, -ALT_I_LIM, ALT_I_LIM);

			float corr = alt_kp * err_h + i_new + alt_kd * (vz_cmd - alt.vz_mps);
			if (corr > ALT_OUT_DELTA) {
				if (err_h <= 0.0f) { alt_i = i_new; }
				corr = ALT_OUT_DELTA;
			} else if (corr < -ALT_OUT_DELTA) {
				if (err_h >= 0.0f) { alt_i = i_new; }
				corr = -ALT_OUT_DELTA;
			} else {
				alt_i = i_new;
			}

			/* 地面守卫：目标与实际高度都贴地才怠速（解锁在地面不自转起飞）；
			 * 若只看目标，空中拉杆下降会把油门直接切断导致自由落体 */
			if (assist_state == ASSIST_HOLD
				&& h_tgt_m <= ALT_TGT_FLOOR_M
				&& alt.height_m <= LAND_TOUCH_ALT_M) {
				base_01 = 0.0f;
			} else {
				base_01 = FC_SAT(hover_ff + corr, 0.05f, 0.95f);
			}
		}

#else
		/* ---- 2d'. 无定高辅助：CH7 就是电机锁 ---- */
		/* 拨高 = 解锁，允许遥控器控制（Safety 另校验油门在最低位）；
		 * 拨低 = 立即上锁。上电时开关若已在 H，2c 不产生解锁沿，故不会误解锁 */
		if (ch7_rise) {
			Safety_RequestArmRc(true);
			AnonLog(2u, "CH7: RC ARM");
		} else if (ch7_fall) {
			Safety_RequestArmRc(false);
			AnonLog(0u, "CH7: RC LOCK");
		}
#endif

		/* ---- 2f. 油门接管 + 斜变混合（仅 RC 路径，DBG 直通不斜变） ---- */
		if (!dbg_mode) {
#ifdef FEATURE_ALT_ASSIST
			if (assist_on) {
				thr_us = (uint16_t)(MOTOR_US_MIN + (uint16_t)(base_01 * 1000.0f));
			}
#endif
			if (rc_ok) {
				const int32_t d = (int32_t)thr_us - (int32_t)prev_thr_us;
				const int32_t step = (d > (int32_t)BASE_SLEW_US) ? (int32_t)BASE_SLEW_US
				                   : ((d < -(int32_t)BASE_SLEW_US) ? -(int32_t)BASE_SLEW_US : d);
				thr_us = (uint16_t)((int32_t)prev_thr_us + step);
			}
		}
		prev_thr_us = thr_us;

		/* ---- 3. 在线同步增益（上位机改 ID 2000~2020 即时生效） ---- */
		if ((tick % 50u) == 0u) {   /* 100ms 拉一次，别每拍调（后续修改，加标志位，上位机改了才拉） */
				Pid_SetGains(&pid_roll_rate,  Anon_GetPidGain(2009u), Anon_GetPidGain(2010u), Anon_GetPidGain(2011u));
				Pid_SetGains(&pid_pitch_rate, Anon_GetPidGain(2012u), Anon_GetPidGain(2013u), Anon_GetPidGain(2014u));
				Pid_SetGains(&pid_yaw_rate,   Anon_GetPidGain(2015u), Anon_GetPidGain(2016u), Anon_GetPidGain(2017u));
				Pid_SetGains(&pid_roll_att,   Anon_GetPidGain(2000u), Anon_GetPidGain(2001u), Anon_GetPidGain(2002u));
				Pid_SetGains(&pid_pitch_att,  Anon_GetPidGain(2003u), Anon_GetPidGain(2004u), Anon_GetPidGain(2005u));
				Pid_SetGains(&pid_yaw_att,    Anon_GetPidGain(2006u), Anon_GetPidGain(2007u), Anon_GetPidGain(2008u));
#ifdef FEATURE_ALT_ASSIST
				/* 高度环 2018~2020：直接取缓存，写入即生效 */
				alt_kp = Anon_GetPidGain(2018u);
				alt_ki = Anon_GetPidGain(2019u);
				alt_kd = Anon_GetPidGain(2020u);
#endif
		}

		/* ---- 4. 外环（ATT_HOLD 模式，新姿态事件驱动，约 200Hz） ---- */
		const bool att_mode = control_on && att_ok;
		if (att_mode) {
			att_loss_cnt = 0u;
			if (att.stamp.seq != last_att_seq) {   /* 只有新姿态帧才执行外环 */
					/* dt 用姿态邮戳差分：BusTask 掉速时自动适配；
					 * 首帧或断流后恢复时 last_att_usec 为 0/过旧，夹紧到 5ms 起步 */
					float dt_att = (last_att_usec == 0u) ? 0.005f
					                     : (float)(att.stamp.usec - last_att_usec) * 1e-6f;
					if (dt_att <= 0.0f)      { dt_att = 0.005f; }   /* 邮戳异常保护 */
					if (dt_att > 0.03f)      { dt_att = 0.03f;  }   /* 断流恢复夹紧 */

					const float act_roll  = att.roll_rad  * 57.2957795f;
					const float act_pitch = att.pitch_rad * 57.2957795f;
					/* 外环全程用度：输入 deg、输出 deg/s，送内环前显式转 rad/s */
					tgt_gx = Pid_Update(&pid_roll_att,  tgt_roll_deg,  act_roll,  dt_att) * 0.0174533f;
					tgt_gy = Pid_Update(&pid_pitch_att, tgt_pitch_deg, act_pitch, dt_att) * 0.0174533f;

					/* Yaw 外环：磁力计可信才做角度保持，否则回退速率直通 */
					if (att.mag_used) {
							const float yaw_meas = att.yaw_rad * 57.2957795f;
							if (!yaw_hold_active) {
									/* 切入角度模式：锁存当前航向为目标，避免目标跳变 */
									yaw_hold_deg    = yaw_meas;
									yaw_hold_active = true;
									Pid_Reset(&pid_yaw_att);
							}
							/* 摇杆叠加到航向目标：回中即保持新航向 */
							yaw_hold_deg += tgt_yaw_rate * 57.2957795f * dt_att;
							/* 环绕处理：目标夹到 [-180,180]，防 ±180° 处 358° 假误差 */
							while (yaw_hold_deg >  180.0f) { yaw_hold_deg -= 360.0f; }
							while (yaw_hold_deg < -180.0f) { yaw_hold_deg += 360.0f; }
							tgt_gz = Pid_Update(&pid_yaw_att, yaw_hold_deg, yaw_meas, dt_att) * 0.0174533f;
					} else {
							yaw_hold_active = false;
							Pid_Reset(&pid_yaw_att);
					}

					last_att_seq  = att.stamp.seq;
					last_att_usec = att.stamp.usec;
			}
    /* else 保持上次外环输出，供下一拍内环继续跟踪 */
		} else if (control_on) {
			/* 姿态短暂丢失：保持上次外环输出，连续超过 50ms 才清零复位 */
			if (++att_loss_cnt > 25u) {
					att_loss_cnt = 0u;
					tgt_gx = 0.0f;
					tgt_gy = 0.0f;
					yaw_hold_active = false;
					Pid_Reset(&pid_roll_att);
					Pid_Reset(&pid_pitch_att);
					Pid_Reset(&pid_yaw_att);
			}
		} else {
				/* 控制关闭：外环立即清零复位 */
				att_loss_cnt = 0u;
				tgt_gx = 0.0f;
				tgt_gy = 0.0f;
				yaw_hold_active = false;
				Pid_Reset(&pid_roll_att);
				Pid_Reset(&pid_pitch_att);
				Pid_Reset(&pid_yaw_att);
		}

		/* Yaw：未进入角度保持时，速率目标每拍直通 */
		if (!yaw_hold_active) { tgt_gz = tgt_yaw_rate; }

		/* ---- 5. 内环（500Hz） ---- */
		float out_roll = 0.0f, out_pitch = 0.0f, out_yaw = 0.0f;
		if (sen_ok && control_on) {
				out_roll  = Pid_Update(&pid_roll_rate,  tgt_gx, sen.gx_radps, dt);
				out_pitch = Pid_Update(&pid_pitch_rate, tgt_gy, sen.gy_radps, dt);
				out_yaw   = Pid_Update(&pid_yaw_rate,   tgt_gz, sen.gz_radps, dt);
		} else {
				Pid_Reset(&pid_roll_rate);
				Pid_Reset(&pid_pitch_rate);
				Pid_Reset(&pid_yaw_rate);
		}

		/* ---- 6. 混控（门控在 motor.c 里，DISARMED 时自动钳到 1000µs） ---- */
		Motor_Mix(thr_us, out_roll, out_pitch, out_yaw);

		/* ---- 7. 发布 ctrl 快照（首字段 FcStamp 由 Publish 回填） ---- */
		ControlOutput out;
		(void)memset(&out, 0, sizeof(out));
		out.valid           = true;
		out.motor_base_01   = (float)(thr_us - MOTOR_US_MIN) / 1000.0f;
		out.roll_torque_nd  = out_roll;
		out.pitch_torque_nd = out_pitch;
		out.yaw_torque_nd   = out_yaw;
		out.assist_active   = assist_on;
#ifdef FEATURE_ALT_ASSIST
		out.alt_target_m    = assist_on ? h_tgt_m : 0.0f;
		out.abort_reason    = abort_reason;
#else
		out.alt_target_m    = 0.0f;
		out.abort_reason    = ALT_ABORT_NONE;
#endif
		FcChan_Publish(&g_chan_ctrl, &out, now);

		/* ---- 8. 波形接线（每拍写，CommTask 10ms 读） ---- */
		uint8_t status = 0u;
		if (Safety_IsArmed()) { status |= 0x01u; }
		if (att_ok)           { status |= 0x02u; }
		if (sen_ok)           { status |= 0x04u; }
		if (rc_ok)            { status |= 0x08u; }   /* bit3 = RC 存活 */
		if (dbg_mode)         { status |= 0x10u; }   /* bit4 = DBG 接管 */
		if (assist_on)        { status |= 0x20u; }   /* bit5 = 定高辅助激活 */
		const int16_t sr = (int16_t)(tgt_roll_deg  * 100.0f);
		const int16_t sp = (int16_t)(tgt_pitch_deg * 100.0f);
		const int16_t sy = (int16_t)(tgt_yaw_rate * 57.2957795f * 100.0f);
		Anon_SetTuneTargets(sr, sp, sy, status, (uint8_t)dbg.mode);
	}
  /* USER CODE END Control_Task */
}

void Attitude_Task(void *argument)
{
  /* USER CODE BEGIN Attitude_Task */
  /* Infinite loop */
	Attitude_Init();
	uint32_t last_tick = 0u;

	for (;;) {
		/* 等 BusTask 每 5 ms 发一次的新样本通知；超时说明采样链断了，
		 * 回到等待即可，由安全层的姿态年龄判据把整机降级 */
		if ((osThreadFlagsWait(ATT_FLAG_NEW_SAMPLE, osFlagsWaitAny,
		                       ATT_WAIT_TIMEOUT_MS) & ATT_FLAG_NEW_SAMPLE) == 0u) {
			continue;
		}

		SensorData sen;
		if (!FcChan_Read(&g_chan_sensor, &sen) || !sen.valid) {
			continue;
		}

		const uint32_t now = Fc_GetMicros();
		float dt = (last_tick == 0u) ? 0.005f : (float)(sen.stamp.usec - last_tick) * 1e-6f;
		last_tick = sen.stamp.usec;

		/* TODO: 调用 Madgwick 更新，具体 API 看 Madgwick.h */
		if (!Attitude_Update(&sen, dt)) {
			continue;                     /* 输入无效，跳过本拍 */
    }

		const Quaternion_t  qq = Attitude_GetQuaternion();
		const EulerAngles_t ee = Attitude_GetEulerAngles();

		AttitudeSnapshot att;
		(void)memset(&att, 0, sizeof(att));

		att.valid     = true;
		att.mag_used  = Attitude_IsMagUsed();
		att.q0        = qq.q0;
		att.q1        = qq.q1;
		att.q2        = qq.q2;
		att.q3        = qq.q3;
		att.roll_rad  = ee.roll;
		att.pitch_rad = ee.pitch;
		att.yaw_rad   = ee.yaw;

		FcChan_Publish(&g_chan_attitude, &att, now);
	}
  /* USER CODE END Attitude_Task */
}

void Rc_Task(void *argument)
{
  /* USER CODE BEGIN Rc_Task */
	(void)argument;
	uint32_t wake = osKernelGetTickCount() + RC_PERIOD_MS;

  /* Infinite loop */
	for (;;) {
		PeriodWait(&wake, RC_PERIOD_MS);

		/* PPM 帧就绪或状态翻转时内部 publish，无新帧/无状态变化则跳过 */
		Rc_TaskStep();
	}
  /* USER CODE END Rc_Task */
}

void Comm_Task(void *argument)
{
  /* USER CODE BEGIN Comm_Task */
  /* Infinite loop */
	(void)argument;

	uint8_t rx_buf[64];
	uint32_t wake = osKernelGetTickCount() + 10u;    /* 10 ms 周期 */

	for (;;) {
		PeriodWait(&wake, 10u);

		/* 0. 兜底重启：回调重启失败或 UART 错误后，恢复接收 */
		if (Uart1_Rx_TakeRestartReq()) {
			Uart1_Rx_Start();
		}

		/* 1. 排空 UART DMA 环形缓冲，喂给接收状态机 */
		uint16_t got;
		while ((got = Uart_RxRing_Pop(rx_buf, (uint16_t)sizeof(rx_buf))) > 0u) {
			Anonym_RxPush(rx_buf, got);
		}

		/* 2. 10 ms 上报节拍 */
		Anonym_Step();

		/* 3 发送 SafetyTask 缓存的日志（若有） */
		uint8_t log_color = 0u;
		char    log_msg[40];
		if (Safety_TakeLog(&log_color, log_msg, sizeof(log_msg))) {
				AnonLog(log_color, log_msg);
		}

		/* 4. 推一帧待发数据到 UART DMA（之前漏了这行） */
    Anonym_TxPump();
	}
  /* USER CODE END Comm_Task */
}

void Status_Task(void *argument)
{
  /* USER CODE BEGIN Status_Task */
  /* Infinite loop */
	(void)argument;

	uint32_t wake = osKernelGetTickCount() + STATUS_PERIOD_MS;

	for (;;) {
		PeriodWait(&wake, STATUS_PERIOD_MS);

		s_heap_free = (uint32_t)xPortGetFreeHeapSize();
		s_wm_att    = (uint32_t)uxTaskGetStackHighWaterMark(AttitudeTaskHandle);
		s_wm_ctrl = (uint32_t)uxTaskGetStackHighWaterMark(ControlTaskHandle);
		s_wm_safety = (uint32_t)uxTaskGetStackHighWaterMark(SafetyTaskHandle);
	}
  /* USER CODE END Status_Task */
}

void Display_Task(void *argument)
{
  /* USER CODE BEGIN Display_Task */
  /* 心跳灯：LD2 每 100 ms 翻转一次，5 Hz 闪烁说明调度器仍在运行 */
  (void)argument;
  uint32_t wake = osKernelGetTickCount() + DISPLAY_PERIOD_MS;

  for (;;)
  {
    PeriodWait(&wake, DISPLAY_PERIOD_MS);
    HAL_GPIO_TogglePin(LD2_GPIO_Port, LD2_Pin);
  }
  /* USER CODE END Display_Task */
}

void Safety_Task(void *argument)
{
  /* USER CODE BEGIN Safety_Task */
  /* Infinite loop */
	(void)argument;
	uint32_t wake = osKernelGetTickCount() + SAFETY_PERIOD_MS;

	for (;;) {
		PeriodWait(&wake, SAFETY_PERIOD_MS);

		AttitudeSnapshot att;
		ControlOutput    ctrl;
		RcCommandSnapshot rc;

		const bool att_ok  = FcChan_Read(&g_chan_attitude, &att);
		const bool ctrl_ok = FcChan_Read(&g_chan_ctrl, &ctrl) && ctrl.valid;
		const bool rc_ok   = FcChan_Read(&g_chan_rc, &rc) && rc.valid;

		Safety_Step(att_ok  ? &att  : NULL,
								ctrl_ok ? &ctrl : NULL,
								rc_ok   ? &rc   : NULL);

		if (!Safety_IsAllowed()) {
			Motor_DisarmAll();
		}
	}
  /* USER CODE END Safety_Task */
}

void Bus_Task(void *argument)
{
  /* USER CODE BEGIN Bus_Task */
  /* Infinite loop */
	(void)argument;

	/* IMU 初始化失败不阻塞其他任务：每 500 ms 重试一次，
	 * 并把失败码经 0xA0 LOG 帧打到上位机日志窗口。
	 * 码值：1=BUSY 2=TIMEOUT 3=NACK 4=BUS_FAULT（3 最常见=地址/接线错）。
	 * 此时链路数据不新鲜，安全层停留在 DISARMED，允许调试。 */
	I2cResult imu_r;
	uint32_t imu_try = 0u;
	char msg[24];
	while ((imu_r = GY87_Init()) != I2C_OK) {
		if ((imu_try++ % 3u) == 0u) {
			(void)snprintf(msg, sizeof(msg), "GY87 INIT FAIL r=%d", (int)imu_r);
			AnonLog(1u, msg);
		}
		osDelay(500u);
	}
	AnonLog(2u, "GY87 READY");

	SensorData s;
	uint32_t div = 0u;                      /* 每 5 个样本（5 ms = 200 Hz）通知 AT 一次 */
	uint32_t alt_div = 0u;                  /* Altitude_Tick 降频到 5ms：BMP180 慢速 I2C 不污染 1ms 采样节拍 */
	uint32_t wake = osKernelGetTickCount() + BUS_PERIOD_MS;

	for (;;) {
		PeriodWait(&wake, BUS_PERIOD_MS);

		I2C_QueueDrain();                   /* 执行延迟的恢复动作（空队列时开销为 0） */

		const fc_usec_t now = Fc_GetMicros();
		if (++alt_div >= 5u) {              /* BMP180 状态机基于 deadline，5ms 轮询粒度足够 */
			alt_div = 0u;
			Altitude_Tick(now);
		}

		if (GY87_Sample(&s, now) == I2C_OK) {
			/* 校准已在 GY87_Sample 出口施加，此处不得重复 */
			FcChan_Publish(&g_chan_sensor, &s, now);

			div = (div + 1u) % 5u;
			if (div == 0u) {
					(void)osThreadFlagsSet(AttitudeTaskHandle, ATT_FLAG_NEW_SAMPLE);
			}
		}

	}
  /* USER CODE END Bus_Task */
}
